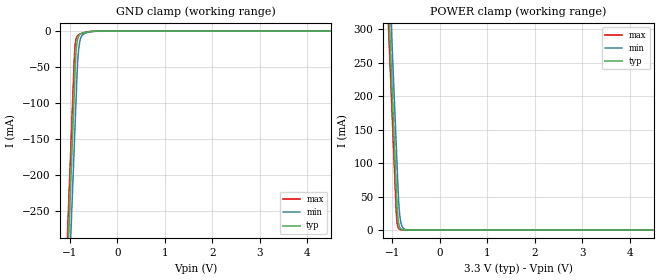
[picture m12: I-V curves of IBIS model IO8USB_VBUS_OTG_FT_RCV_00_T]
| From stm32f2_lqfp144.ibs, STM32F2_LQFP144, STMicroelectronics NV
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| *** New cell (Generated with 5.14beta1 (Sep 20 2010 13:23:23))
[Model]   IO8USB_VBUS_OTG_FT_RCV_00_T
Model_type Input
Polarity   Non-Inverting
Enable   Active-Low
| CAP_THRESHOLD on pad IOV33 is "CMOS" :
| Rising=10.0% of vdd5   Falling=90.0% of vdd5
| C_comp min and max val. don't necessarily correlate with the min and max pvt
| but are the smallest and greatest pad capacitance found.
| var   typ   min   max
C_comp   2.69340pF  2.58200pF  2.86325pF
Vinl = 800.0mV | Dummy value overriden by next lines
Vinh = 2.00V | Dummy value overriden by next lines
[Model Spec]
| TIME_THRESHOLD on pin ZIV12 is "CORE" :
| Rising=40.0% of vdd   Falling=60.0% of vdd
Vinl 1.25450V 1.03850V 1.36250V
Vinh 1.66150V 1.36950V 1.82450V
| variable   typ   min   max
[Temperature Range] 25.0 125.0 -40.0
| variable   typ   min   max
[Voltage Range] 3.3V 2.7V 3.6V
| variable   typ   min   max
[POWER Clamp Reference] 3.3V 2.7V 3.6V
| variable   typ   min   max
[GND Clamp Reference] 0V 0V 0V
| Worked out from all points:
|   GND clamp passes 1 mA (typ) near -0.61 V on its own axis
|   POWER clamp passes 1 mA (typ) near -0.81 V on its own axis
[POWER Clamp]
-3.3V     4.11A      4.173A     4.072A
-1.09V    352.5mA    415.9mA    314.5mA
-1.05V    284.5mA    347.9mA    246.5mA
-1.01V    216.5mA    279.9mA    178.5mA
-920mV    63.51mA    126.9mA    25.85mA
-900mV    31.51mA    92.9mA     9.552mA
-890mV    21.35mA    75.9mA     5.807mA
-870mV    9.804mA    44.01mA    2.146mA
-840mV    3.05mA     18.36mA    482.1uA
-780mV    295.2uA    3.193mA    24.34uA
-660mV    2.764uA    96.47uA    62.42nA
6.6V      0A         0A         0A
[GND Clamp]
-3.3V     -4.149A    -4.224A    -4.103A
-1.06V    -341.2mA   -416.1mA   -295.1mA
-940mV    -137.2mA   -212.1mA   -91.08mA
-900mV    -69.19mA   -144.1mA   -27.04mA
-880mV    -37.32mA   -110.1mA   -13.88mA
-870mV    -27.09mA   -93.14mA   -10.66mA
-840mV    -11.71mA   -45.57mA   -6.266mA
-820mV    -7.587mA   -27.56mA   -5.077mA
-790mV    -4.752mA   -13.78mA   -4.031mA
-700mV    -2.155mA   -3.174mA   -2.051mA
-350mV    -10.35uA   -54.26uA   -1.982uA
6.6V      13.96nA    1.746uA    94.44pA
